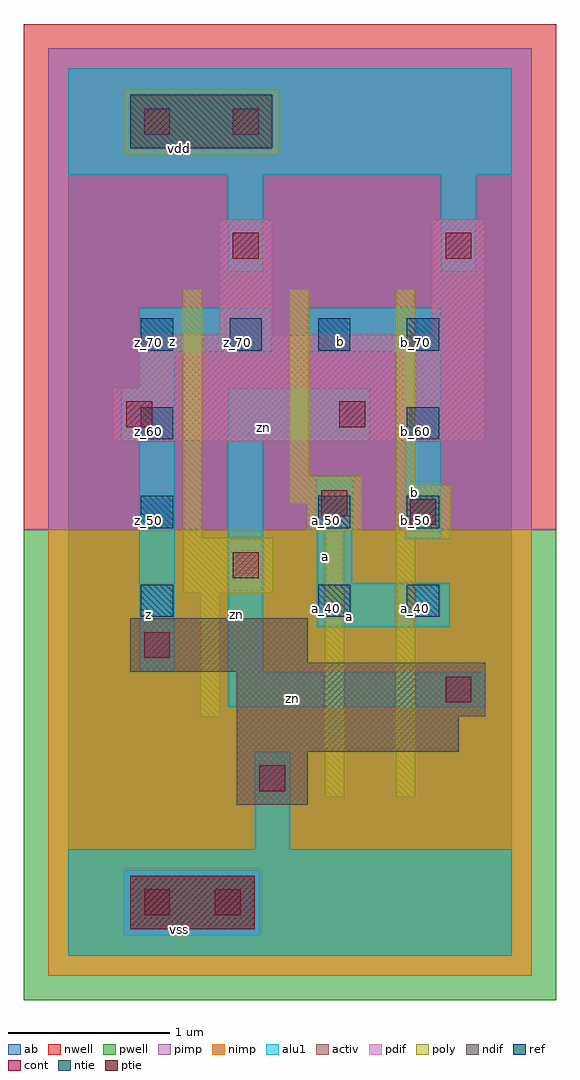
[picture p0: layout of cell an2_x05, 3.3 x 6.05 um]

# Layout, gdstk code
import gdstk
lib = gdstk.Library(unit=1e-6, precision=2.5e-09)
def R(c, l, rs):  # rectangles x0, y0, x1, y1
    for r in rs: c.add(gdstk.rectangle(r[:2], r[2:], *l))
def A(c, l, x, y, w, h, nx, ny, dx, dy):  # array of equal rectangles
    R(c, l, [(x+i*dx, y+j*dy, x+i*dx+w, y+j*dy+h) for i in range(nx) for j in range(ny)])
ndif = (3, 0)
pdif = (4, 0)
ntie = (5, 0)
ptie = (6, 0)
ref = (24, 0)
cont = (25, 0)
pwell = (41, 0)
nwell = (42, 0)
activ = (43, 0)
pimp = (44, 0)
nimp = (45, 0)
poly = (46, 0)
alu1 = (49, 0)
ab = (63, 0)

an2_x05 = lib.new_cell('an2_x05')
R(an2_x05, ndif, [(1.045,0.935,1.485,1.265), (1.045,1.265,2.42,1.485), (1.045,1.485,2.585,1.76), (0.385,1.76,2.585,1.815), (0.385,1.815,1.485,2.09)])
R(an2_x05, pdif, [(0.275,3.19,2.585,3.52), (0.44,3.52,2.585,3.85), (0.935,3.85,1.265,4.565), (2.255,3.85,2.585,4.565)])
R(an2_x05, ntie, [(0.385,5.005,1.265,5.335)])
R(an2_x05, ptie, [(0.385,0.165,1.155,0.495)])
A(an2_x05, ref, 0.45, 2.1, 0.2, 0.2, 1, 3, 0, 0.55)
A(an2_x05, ref, 2.1, 2.1, 0.2, 0.2, 1, 3, 0, 0.55)
A(an2_x05, ref, 0.45, 3.75, 0.2, 0.2, 4, 1, 0.55, 0)
R(an2_x05, ref, [(1.55,2.1,1.75,2.3), (1.55,2.65,1.75,2.85)])
R(an2_x05, cont, [(0.47,0.25,0.63,0.41), (0.91,0.25,1.07,0.41), (1.185,1.02,1.345,1.18), (2.34,1.57,2.5,1.73), (0.47,1.845,0.63,2.005), (1.02,2.34,1.18,2.5), (2.12,2.67,2.28,2.83), (1.57,2.725,1.73,2.885), (0.36,3.275,0.52,3.435), (1.68,3.275,1.84,3.435), (1.02,4.32,1.18,4.48), (2.34,4.32,2.5,4.48), (0.47,5.09,0.63,5.25), (1.02,5.09,1.18,5.25)])
R(an2_x05, pwell, [(-0.275,-0.275,3.025,2.64)])
R(an2_x05, nwell, [(-0.275,2.64,3.025,5.775)])
R(an2_x05, activ, [(0.385,0.165,1.155,0.495), (1.045,0.935,1.485,1.265), (1.045,1.265,2.42,1.485), (1.045,1.485,2.585,1.76), (0.385,1.76,2.585,1.815), (0.385,1.815,1.485,2.09), (0.275,3.19,2.585,3.52), (0.44,3.52,2.585,3.85), (0.935,3.85,1.265,4.565), (2.255,3.85,2.585,4.565), (0.385,5.005,1.265,5.335)])
R(an2_x05, pimp, [(0.345,0.125,1.195,0.535), (-0.125,2.64,2.875,4.965), (-0.125,4.965,0.345,5.375), (1.305,4.965,2.875,5.375), (-0.125,5.375,2.875,5.625)])
R(an2_x05, nimp, [(-0.125,-0.125,2.875,0.125), (-0.125,0.125,0.345,0.535), (1.195,0.125,2.875,0.535), (-0.125,0.535,2.875,2.64), (0.345,4.965,1.305,5.375)])
R(an2_x05, poly, [(1.59,0.985,1.71,2.635), (2.03,0.985,2.15,2.58), (0.82,1.48,0.94,2.25), (0.71,2.25,1.27,2.59), (2.03,2.58,2.37,2.92), (0.71,2.59,0.83,4.13), (1.48,2.635,1.82,2.8), (1.37,2.8,1.82,2.975), (2.03,2.92,2.15,4.13), (1.37,2.975,1.49,4.13)])
R(an2_x05, alu1, [(0,0,2.75,0.66), (1.155,0.66,1.375,1.265), (0.99,1.54,2.585,1.76), (0.44,1.76,0.66,3.19), (0.99,1.76,1.21,3.19), (1.54,2.035,2.365,2.31), (1.54,2.31,1.76,2.97), (2.09,2.585,2.31,3.74), (0.33,3.19,0.66,3.52), (0.99,3.19,1.87,3.52), (0.44,3.52,0.66,3.74), (0.44,3.74,1.265,4.015), (1.485,3.74,2.31,4.015), (0.99,4.235,1.21,4.84), (2.31,4.235,2.53,4.84), (0,4.84,2.75,5.5)])
R(an2_x05, ab, [(0,0,2.75,5.5)])
an2_x05.add(gdstk.Label('vss', (0.6875,0.165), layer=49, texttype=0))
an2_x05.add(gdstk.Label('zn', (1.3875,1.595), layer=49, texttype=0))
an2_x05.add(gdstk.Label('a', (1.745,2.1025), layer=49, texttype=0))
an2_x05.add(gdstk.Label('b', (2.145,2.8725), layer=49, texttype=0))
an2_x05.add(gdstk.Label('a', (1.595,2.475), layer=49, texttype=0))
an2_x05.add(gdstk.Label('zn', (1.045,2.1175), layer=49, texttype=0))
an2_x05.add(gdstk.Label('zn', (1.21,3.2725), layer=49, texttype=0))
an2_x05.add(gdstk.Label('z', (0.495,2.1175), layer=49, texttype=0))
an2_x05.add(gdstk.Label('b', (1.69,3.8075), layer=49, texttype=0))
an2_x05.add(gdstk.Label('z', (0.645,3.8075), layer=49, texttype=0))
an2_x05.add(gdstk.Label('vdd', (0.6875,5.005), layer=49, texttype=0))
an2_x05.add(gdstk.Label('a_40', (2.15,2.15), layer=24, texttype=0))
an2_x05.add(gdstk.Label('z_70', (1.05,3.8), layer=24, texttype=0))
an2_x05.add(gdstk.Label('b_50', (2.15,2.7), layer=24, texttype=0))
an2_x05.add(gdstk.Label('b_70', (1.6,3.8), layer=24, texttype=0))
an2_x05.add(gdstk.Label('b_70', (2.15,3.8), layer=24, texttype=0))
an2_x05.add(gdstk.Label('b_60', (2.15,3.25), layer=24, texttype=0))
an2_x05.add(gdstk.Label('z_40', (0.5,2.15), layer=24, texttype=0))
an2_x05.add(gdstk.Label('z_50', (0.5,2.7), layer=24, texttype=0))
an2_x05.add(gdstk.Label('z_60', (0.5,3.25), layer=24, texttype=0))
an2_x05.add(gdstk.Label('z_70', (0.5,3.8), layer=24, texttype=0))
an2_x05.add(gdstk.Label('a_40', (1.6,2.15), layer=24, texttype=0))
an2_x05.add(gdstk.Label('a_50', (1.6,2.7), layer=24, texttype=0))

lib.write_gds('an2_x05.gds')
